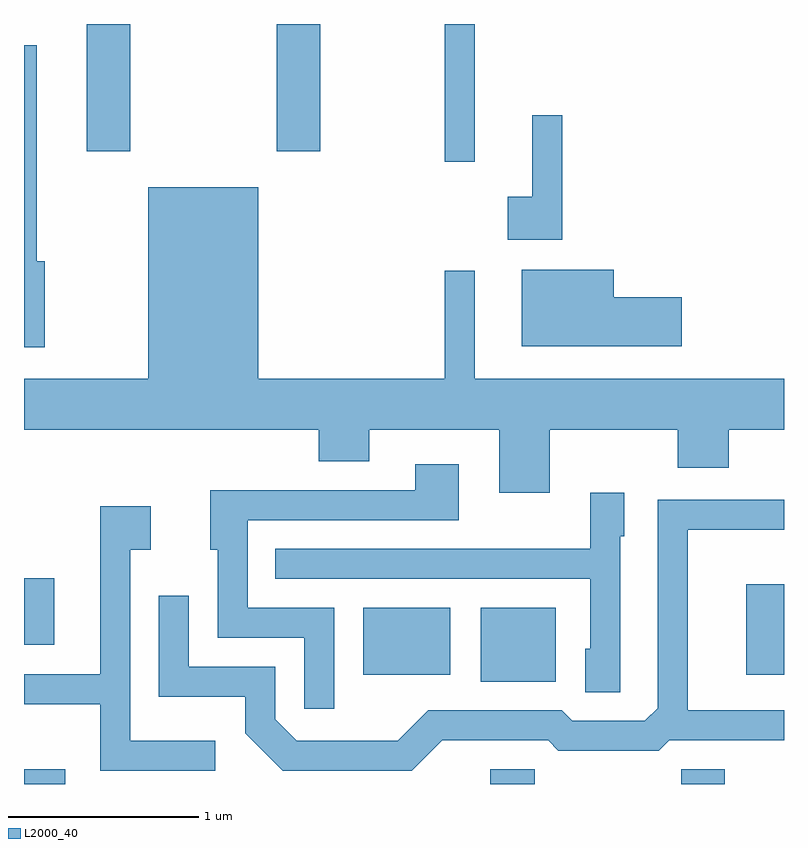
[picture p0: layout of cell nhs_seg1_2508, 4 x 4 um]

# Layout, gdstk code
import gdstk
lib = gdstk.Library(unit=1e-6, precision=1e-09)
def R(c, l, rs):  # rectangles x0, y0, x1, y1
    for r in rs: c.add(gdstk.rectangle(r[:2], r[2:], *l))
def P(c, l, *ps):  # polygons
    for p in ps: c.add(gdstk.Polygon(p, *l))
L2000_40 = (2000, 40)

nhs_seg1_2508 = lib.new_cell('nhs_seg1_2508')
R(nhs_seg1_2508, L2000_40, [(261.611,897.712,261.829,897.789), (264.066,897.712,264.299,897.789), (265.071,897.712,265.299,897.789), (264.016,898.251,264.409,898.639), (263.396,898.286,263.854,898.639), (265.411,898.286,265.611,898.764), (261.611,898.446,261.769,898.794), (263.826,900.988,263.984,901.712), (261.941,901.041,262.169,901.712), (262.941,901.041,263.169,901.712)])
P(nhs_seg1_2508, L2000_40, [(261.719,900.464),(261.679,900.464),(261.679,901.599),(261.611,901.599),(261.611,900.011),(261.719,900.011)],
  [(264.444,901.233),(264.286,901.233),(264.286,900.804),(264.156,900.804),(264.156,900.576),(264.444,900.576)],
  [(264.379,899.576),(265.051,899.576),(265.051,899.376),(265.319,899.376),(265.319,899.576),(265.611,899.576),(265.611,899.844),(263.984,899.844),(263.984,900.413),(263.826,900.413),(263.826,899.844),(262.844,899.844),(262.844,900.854),(262.266,900.854),(262.266,899.844),(261.611,899.844),(261.611,899.576),(263.161,899.576),(263.161,899.411),(263.429,899.411),(263.429,899.576),(264.111,899.576),(264.111,899.246),(264.379,899.246)],
  [(265.074,900.274),(264.714,900.274),(264.714,900.419),(264.231,900.419),(264.231,900.016),(265.074,900.016)],
  [(263.244,898.639),(262.789,898.639),(262.789,899.101),(263.899,899.101),(263.899,899.394),(263.671,899.394),(263.671,899.259),(262.591,899.259),(262.591,898.946),(262.631,898.946),(262.631,898.481),(263.086,898.481),(263.086,898.108),(263.244,898.108)],
  [(264.749,899.016),(264.769,899.016),(264.769,899.244),(264.591,899.244),(264.591,898.949),(262.933,898.949),(262.933,898.791),(264.591,898.791),(264.591,898.424),(264.566,898.424),(264.566,898.196),(264.749,898.196)],
  [(263.812,897.941),(264.369,897.941),(264.424,897.886),(264.952,897.886),(265.007,897.941),(265.611,897.941),(265.611,898.099),(265.104,898.099),(265.104,899.051),(265.611,899.051),(265.611,899.209),(264.946,899.209),(264.946,898.112),(264.879,898.044),(264.497,898.044),(264.442,898.099),(263.739,898.099),(263.579,897.939),(263.047,897.939),(262.934,898.052),(262.934,898.329),(262.479,898.329),(262.479,898.703),(262.321,898.703),(262.321,898.171),(262.776,898.171),(262.776,897.979),(262.974,897.781),(263.652,897.781)],
  [(262.618,897.939),(262.169,897.939),(262.169,898.946),(262.279,898.946),(262.279,899.174),(262.011,899.174),(262.011,898.289),(261.611,898.289),(261.611,898.131),(262.011,898.131),(262.011,897.781),(262.618,897.781)])

lib.write_gds('nhs_seg1_2508.gds')
